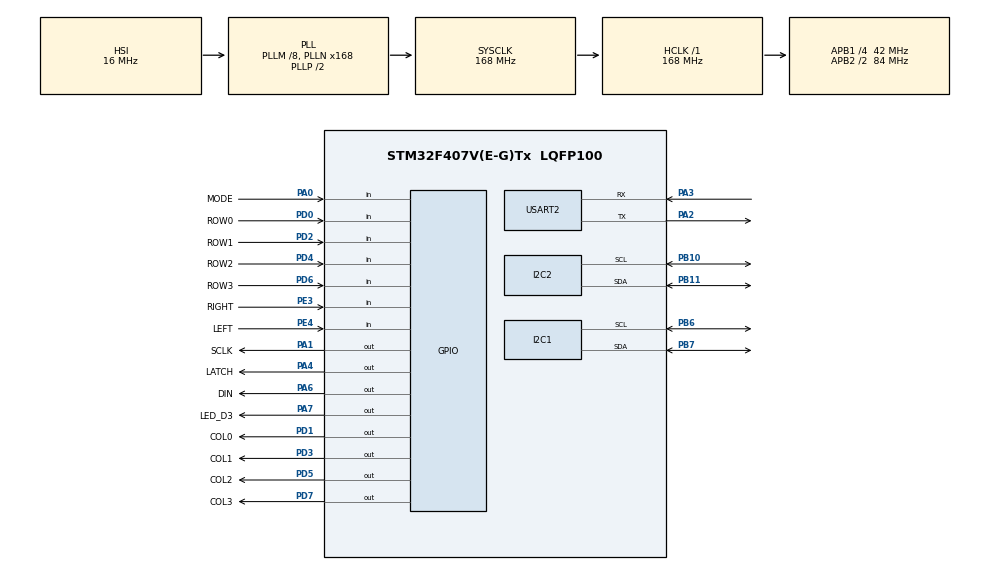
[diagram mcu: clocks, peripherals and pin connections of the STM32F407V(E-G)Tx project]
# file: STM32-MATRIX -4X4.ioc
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ADC1.Channel-0\#ChannelRegularConversion=ADC_CHANNEL_0
ADC1.Channel-1\#ChannelRegularConversion=ADC_CHANNEL_TEMPSENSOR
ADC1.Channel-2\#ChannelRegularConversion=ADC_CHANNEL_VREFINT
ADC1.Channel-3\#ChannelInjectedConversion=ADC_CHANNEL_TEMPSENSOR
ADC1.ContinuousConvMode=ENABLE
ADC1.InjNumberOfConversion=1
ADC1.InjectedOffset-3\#ChannelInjectedConversion=0
ADC1.InjectedRank-3\#ChannelInjectedConversion=1
ADC1.NbrOfConversion=3
ADC1.NbrOfConversionFlag=1
ADC1.Rank-0\#ChannelRegularConversion=1
ADC1.Rank-1\#ChannelRegularConversion=2
ADC1.Rank-2\#ChannelRegularConversion=3
ADC1.SamplingTime-0\#ChannelRegularConversion=ADC_SAMPLETIME_112CYCLES
ADC1.SamplingTime-1\#ChannelRegularConversion=ADC_SAMPLETIME_112CYCLES
ADC1.SamplingTime-2\#ChannelRegularConversion=ADC_SAMPLETIME_112CYCLES
ADC1.SamplingTime-3\#ChannelInjectedConversion=ADC_SAMPLETIME_112CYCLES
ADC1.master=1
Mcu.Family=STM32F4
Mcu.Name=STM32F407V(E-G)Tx
Mcu.Package=LQFP100
NVIC.PriorityGroup=NVIC_PRIORITYGROUP_4
PA0-WKUP.GPIO_Label=MODE
PA0-WKUP.GPIO_PuPd=GPIO_PULLDOWN
PA0-WKUP.Signal=GPIO_Input
PA1.GPIO_Label=SCLK
PA1.Signal=GPIO_Output
PA13.Mode=Serial_Wire
PA13.Signal=SYS_JTMS-SWDIO
PA14.Mode=Serial_Wire
PA14.Signal=SYS_JTCK-SWCLK
PA2.Mode=Asynchronous
PA2.Signal=USART2_TX
PA3.Mode=Asynchronous
PA3.Signal=USART2_RX
PA4.GPIO_Label=LATCH
PA4.Signal=GPIO_Output
PA6.GPIO_Label=DIN
PA6.PinState=GPIO_PIN_RESET
PA6.Signal=GPIO_Output
PA7.GPIO_Label=LED_D3
PA7.PinState=GPIO_PIN_SET
PA7.Signal=GPIO_Output
PB10.Mode=I2C
PB10.Signal=I2C2_SCL
PB11.Mode=I2C
PB11.Signal=I2C2_SDA
PB6.Mode=I2C
PB6.Signal=I2C1_SCL
PB7.Mode=I2C
PB7.Signal=I2C1_SDA
PC14-OSC32_IN.Mode=LSE-External-Oscillator
PC14-OSC32_IN.Signal=RCC_OSC32_IN
PC15-OSC32_OUT.Mode=LSE-External-Oscillator
PC15-OSC32_OUT.Signal=RCC_OSC32_OUT
PD0.GPIO_Label=ROW0
PD0.GPIO_PuPd=GPIO_PULLUP
PD0.Signal=GPIO_Input
PD1.GPIO_Label=COL0
PD1.GPIO_PuPd=GPIO_NOPULL
PD1.PinState=GPIO_PIN_SET
PD1.Signal=GPIO_Output
PD2.GPIO_Label=ROW1
PD2.GPIO_PuPd=GPIO_PULLUP
PD2.Signal=GPIO_Input
PD3.GPIO_Label=COL1
PD3.GPIO_PuPd=GPIO_NOPULL
PD3.PinState=GPIO_PIN_SET
PD3.Signal=GPIO_Output
PD4.GPIO_Label=ROW2
PD4.GPIO_PuPd=GPIO_PULLUP
PD4.Signal=GPIO_Input
PD5.GPIO_Label=COL2
PD5.PinState=GPIO_PIN_SET
PD5.Signal=GPIO_Output
PD6.GPIO_Label=ROW3
PD6.GPIO_PuPd=GPIO_PULLUP
PD6.Signal=GPIO_Input
PD7.GPIO_Label=COL3
PD7.GPIO_PuPd=GPIO_NOPULL
PD7.PinState=GPIO_PIN_SET
PD7.Signal=GPIO_Output
PE3.GPIO_Label=RIGHT
PE3.GPIO_PuPd=GPIO_PULLUP
PE3.Signal=GPIO_Input
PE4.GPIO_Label=LEFT
PE4.GPIO_PuPd=GPIO_PULLUP
PE4.Signal=GPIO_Input
PH0-OSC_IN.Mode=HSE-External-Oscillator
PH0-OSC_IN.Signal=RCC_OSC_IN
PH1-OSC_OUT.Mode=HSE-External-Oscillator
PH1-OSC_OUT.Signal=RCC_OSC_OUT
ProjectManager.HeapSize=0x200
ProjectManager.StackSize=0x400
ProjectManager.TargetToolchain=MDK-ARM V5.32
RCC.48MHZClocksFreq_Value=84000000
RCC.AHBFreq_Value=168000000
RCC.APB1CLKDivider=RCC_HCLK_DIV4
RCC.APB1Freq_Value=42000000
RCC.APB1TimFreq_Value=84000000
RCC.APB2CLKDivider=RCC_HCLK_DIV2
RCC.APB2Freq_Value=84000000
RCC.APB2TimFreq_Value=168000000
RCC.CortexFreq_Value=168000000
RCC.HCLKFreq_Value=168000000
RCC.HSE_VALUE=8000000
RCC.HSI_VALUE=16000000
RCC.PLLM=8
RCC.PLLN=168
RCC.SYSCLKFreq_VALUE=168000000
RCC.SYSCLKSource=RCC_SYSCLKSOURCE_PLLCLK
RCC.VCOOutputFreq_Value=336000000
USART2.VirtualMode=VM_ASYNC
VP_ADC1_TempSens_Input.Mode=IN-TempSens
VP_ADC1_Vref_Input.Mode=IN-Vrefint
board=custom

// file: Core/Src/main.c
/* USER CODE BEGIN Header */
/**
  ******************************************************************************
  * @file           : main.c
  * @brief          : Main program body
  ******************************************************************************
  * @attention
  *
  * Copyright (c) 2023 STMicroelectronics.
  * All rights reserved.
  *
  * This software is licensed under terms that can be found in the LICENSE file
  * in the root directory of this software component.
  * If no LICENSE file comes with this software, it is provided AS-IS.
  *
  ******************************************************************************
  */
/* USER CODE END Header */
#include "main.h"
#include "adc.h"
#include "i2c.h"
#include "usart.h"
#include "gpio.h"

/* USER CODE BEGIN Includes */
#include "i2c-lcd.h"
#include <stdio.h>
/* USER CODE END Includes */

/* USER CODE BEGIN PTD */
#define SLAVE_ADDRESS_EEPROM 0x50
void write_eeprom (int address ,int value)
{
	uint8_t data_t[2];

	data_t[0] = address;
	data_t[1] = value;
	HAL_I2C_Master_Transmit (&hi2c2, SLAVE_ADDRESS_EEPROM << 1,(uint8_t *) data_t, 2, HAL_MAX_DELAY);
	HAL_Delay(10); // tWR Write Cycle Time 5 ms
	printf("write_eeprom at 0x%X \r\n",address);
}

uint8_t read_eeprom(uint16_t register_pointer)
{
	HAL_StatusTypeDef status = HAL_OK;
	uint8_t return_value = 0;

	status = HAL_I2C_Mem_Read(&hi2c2, SLAVE_ADDRESS_EEPROM << 1, (uint16_t)register_pointer, I2C_MEMADD_SIZE_8BIT, &return_value, 1, 100);

	/* Check the communication status */
	if(status != HAL_OK)
	{

	}
	printf("Read EEPROM at [%d] : %d \r\n",register_pointer, return_value);
	return return_value;
}

void reset_eeprom()
{
	for(int i = 0 ; i < 20; i++)
	{
		write_eeprom(i,0+48);
		read_eeprom(i);
	}
}

/* USER CODE END PTD */

/* USER CODE BEGIN PD */

// quet thay dia chi la 0x50, dich trai 1 bit >> 0xA0
/* USER CODE END PD */

/* USER CODE BEGIN PV */
typedef struct
{
 uint8_t trangthai;
 uint8_t left;//khai bao nut bam
 uint8_t right;//khai bao nut bam
	enum
	{
		Mode_chung,//0
		Mode_maytinh,//1
		Mode_4led,//2
		mode_left,
		mode_right,
	};

} Global;

Global Global_NT;

typedef struct
{
	int string_num[5];
	int num_1;
	int num_2;
	int vitri_pheptinh;
	int trang_thai;
	int ketqua;
	int quakhu;

} Mode1;

Mode1 Maytinh;

typedef struct
{
	int string_num[5];
	int trang_thailed;
	int ketqua;

} Mode2;

Mode2 led;

// su dung uart debug
char buffer[20];
	int fputc(int ch, FILE * f)
	{
		HAL_UART_Transmit( & huart2, (uint8_t * ) & ch, 1, HAL_MAX_DELAY);
		return ch;
	}

	int row,cow =0;
	int so[6];
	int string_max = 0;
	char key;
	int	matrix_row ;  //debug printf LCD
	int matrix_col;
	char buffer[20];

/* USER CODE END PV */

void SystemClock_Config(void);

/* USER CODE BEGIN 0 */

/////////////////////////////////////// code led 7 DOAN
void shiftout(int data)
{
	for(int i=0;i <8;i++) // gui tin hieu 1 SO CAN HIEN THI L?N 1 LED
	{
		if(data&0x80)
		{
			HAL_GPIO_WritePin(DIN_GPIO_Port,DIN_Pin,GPIO_PIN_SET);
		}
		else
		{
			HAL_GPIO_WritePin(DIN_GPIO_Port,DIN_Pin,GPIO_PIN_RESET);
		}
		data<<=1;
		HAL_GPIO_WritePin(SCLK_GPIO_Port,SCLK_Pin,GPIO_PIN_SET);
		HAL_GPIO_WritePin(SCLK_GPIO_Port,SCLK_Pin,GPIO_PIN_RESET);

	}
}
char led_index[9]={0};
void display_4led(int so_int)
{
	unsigned char MA7DOAN[] =
	{
		0xC0,// 0
		0xF9,// 1
		0xA4,// 2
		0xB0,// 3
		0x99,// 4
		0x92,// 5
		0x82,// 6
		0xF8,// 7
		0x80,// 8
		0x90,// 9
		0x88,// A 10
		0x83,// B 11
		0xC6,// C 12
		0xA1,// D 13
		0x86,// E 14
		0x8E,// F 15
		0xff // NONE 16
	};
	led_index[8] = so_int/1000;
	led_index[4] = so_int%1000/100;
	led_index[2] = so_int%100/10;
	led_index[1] = so_int%10;
	if(led_index[8] == 0)
	{
		led_index[8] = 16; // MA7DOAN[16] -> tat led 7 doan
		if(led_index[4] == 0)
		{
			led_index[4] = 16; // MA7DOAN[16] -> tat led 7 doan
					if(led_index[2] == 0)
					{
						led_index[2] = 16; // MA7DOAN[16] -> tat led 7 doan
					}
		}
	}

	for(int i = 1; i < 9; i = i*2)
	{
		HAL_GPIO_WritePin(LATCH_GPIO_Port,LATCH_Pin,GPIO_PIN_RESET);
		shiftout(MA7DOAN[led_index[i]]);
		shiftout(i);
		HAL_GPIO_WritePin(LATCH_GPIO_Port,LATCH_Pin,GPIO_PIN_SET);
	}
}

 //////////////////////////////////////////code matrix
GPIO_TypeDef* row_port[4] = {ROW0_GPIO_Port, ROW1_GPIO_Port, ROW2_GPIO_Port, ROW3_GPIO_Port};
GPIO_TypeDef* col_port[4] = {COL0_GPIO_Port, COL1_GPIO_Port, COL2_GPIO_Port, COL3_GPIO_Port};
char scan_key()
{
	char keys [4][4] =
	{
		{'1', '2', '3', 'A'},
		{'4', '5', '6', 'B'},
		{'7', '8', '9', 'C'},
		{'*', '0', '#', 'D'},
	};
	// PHIA DUOI LA MATRIX 4X4
	char col_pin[4]={COL0_Pin,COL1_Pin,COL2_Pin,COL3_Pin};// quet cot
	char row_pin[4]={ROW0_Pin,ROW1_Pin,ROW2_Pin,ROW3_Pin};// quet hang
	// quet cot
	for (int col =0;col<4; col++)
	{

		HAL_GPIO_WritePin(GPIOD,col_pin[col],0);
		//quet hang
		for ( int row=0;row<4 ;row++)
		{
			if ( HAL_GPIO_ReadPin(GPIOD,row_pin[row]) ==0)
			{

				HAL_Delay(50);
				while ( HAL_GPIO_ReadPin(GPIOD,row_pin[row]) ==0)
				{
				}

				HAL_GPIO_WritePin(GPIOD,col_pin[col],1);
				matrix_row = row;  //debug printf LCD
				matrix_col = col;
				return keys [row][col];

			}

		}
		HAL_GPIO_WritePin(GPIOD,col_pin[col],1);
	}
 return 32;// 32 KY TU "SPACE" TRONG MA ACSII
}

int scan_mode(void)
{
	if (HAL_GPIO_ReadPin(MODE_GPIO_Port, MODE_Pin))
	{
		HAL_Delay(20);
		if (HAL_GPIO_ReadPin(MODE_GPIO_Port, MODE_Pin))
		{
			Global_NT.trangthai =Global_NT.trangthai +1;
			if(Global_NT.trangthai==3)
			{
				Global_NT.trangthai=0;
			}
			while (HAL_GPIO_ReadPin(MODE_GPIO_Port,  MODE_Pin) == 1)
			{
			}
		}
	}
	return Global_NT.trangthai;
}
int scan_left(void)
{
	if ((HAL_GPIO_ReadPin(LEFT_GPIO_Port, LEFT_Pin)==0) )
	{

		HAL_Delay(20);
		if (HAL_GPIO_ReadPin(LEFT_GPIO_Port, LEFT_Pin)==0)
		{
			Global_NT.left=1;

			while (HAL_GPIO_ReadPin(LEFT_GPIO_Port, LEFT_Pin) == 0)
			{
			}
		}
	}
	return Global_NT.left;
}

int scan_right(void)
{
	if (HAL_GPIO_ReadPin(RIGHT_GPIO_Port, RIGHT_Pin)==0)
	{

		HAL_Delay(20);
		if (HAL_GPIO_ReadPin(RIGHT_GPIO_Port, RIGHT_Pin)==0)
		{
			Global_NT.right=0;
			printf("gia tri hien tai la  %d\r\n",Maytinh.ketqua );
			while (HAL_GPIO_ReadPin(RIGHT_GPIO_Port, RIGHT_Pin) == 0)
			{

			}
		}
	}
	return Global_NT.right;
}

int fn_getNum(int array[5],int array_max)
{
	for(int i =0;i<5;i++)
	{
		printf("array[%d] %d \r\n", i, array[i]);

	}

	return 1;
}

void fn_Mode_maytinh(void)
{
while(Global_NT.trangthai == Mode_maytinh)
	{
		lcd_put_cur(0,0);
		lcd_send_string("MODE1:MAY_TINH");
		scan_mode();
		scan_left();
		scan_right();
		if(Global_NT.left==1)
		{
			lcd_put_cur(0,0);
		  lcd_send_string("Gia tri truoc do la");
			lcd_put_cur(1,0);
			sprintf (buffer,"%d ", read_eeprom(0));
			lcd_send_string (buffer);
			HAL_Delay(2000);
			lcd_init();
			Global_NT.left=2;
		}

		key = scan_key();
		lcd_put_cur (1, string_max);
		if((key == '#') && (string_max > 2))
		{
			for(int i = 0; i < string_max; i++)
			{
				//printf("Maytinh.string_num[i] %d\r\n", Maytinh.string_num[i]);
				if (( Maytinh.string_num[i] < 0) || \
					( Maytinh.string_num[i] > 9))
				{
					printf("VI TRI PHEP TINH LA %d\r\n", i);
					if (Maytinh.string_num[i] == (65-48)) // dau +
					{

						printf("PHEP TINH HIEN TAI LA + \r\n");
						Maytinh.trang_thai=0;
					}
					else if (Maytinh.string_num[i] == (66-48)) // dau -
					{
						printf("PHEP TINH HIEN TAI LA - \r\n");
							Maytinh.trang_thai=1;
					}
					else if (Maytinh.string_num[i] == (67-48)) // dau *
					{
						printf("PHEP TINH HIEN TAI LA * \r\n");
						Maytinh.trang_thai=2;
					}
					Maytinh.vitri_pheptinh = i;
				}
			}
			// lay so 1
			printf("Lay so 1:\r\n");
			Maytinh.num_1 = 0;
			for (int j = 0; j < Maytinh.vitri_pheptinh; j++) {
				Maytinh.num_1 = Maytinh.num_1 * 10 + Maytinh.string_num[j];
				write_eeprom(1,Maytinh.num_1);
			}
			// lay so 2
			printf("Lay so 2:\r\n");
			Maytinh.num_2 = 0;
			for (int j = Maytinh.vitri_pheptinh+1; j < string_max; j++) {
				Maytinh.num_2 = Maytinh.num_2 * 10 + Maytinh.string_num[j];
				write_eeprom(2,Maytinh.num_2);
			}
			printf("Maytinh.num_2 1a: %d\r\n", Maytinh.num_2);

				if(Maytinh.trang_thai==0)
			{
				Maytinh.ketqua=Maytinh.num_1+Maytinh.num_2;
				Maytinh.quakhu=read_eeprom(1)+read_eeprom(2);
				write_eeprom(0,Maytinh.quakhu);
				printf("ket qua phep cong la:%d\r\n",Maytinh.ketqua);
			}

				if(Maytinh.trang_thai==1)
			{
				Maytinh.ketqua=Maytinh.num_1-Maytinh.num_2;

				printf("ket qua phep tru la : %d\r\n",Maytinh.ketqua);
			}
				if(Maytinh.trang_thai==2)
			{
				Maytinh.ketqua=Maytinh.num_1*Maytinh.num_2;
				;
				printf("ket qua phep nhan la  : %d\r\n",Maytinh.ketqua);
			}

				lcd_put_cur (1, string_max +1);
				lcd_send_string("=");
			  lcd_put_cur (1,string_max +2);
				printf("maytinh %d\r\n",Maytinh.ketqua);
		  	sprintf (buffer,"%d ", Maytinh.ketqua);
			  lcd_send_string (buffer);
		   	string_max = 0;
			  HAL_Delay(2500);
		    lcd_clear();
		}

		else if(key != 32)
		{
			lcd_put_cur (1,string_max);
		  Maytinh.string_num[string_max]=key-48;
			printf("so thu %d la %d\r\n", string_max, Maytinh.string_num[string_max]);
			lcd_send_data(key);

			if (Maytinh.string_num[string_max] == (65-48))
			{
				lcd_put_cur (1, string_max);
				lcd_send_string("+");
			}
			if (Maytinh.string_num[string_max] == (66-48))
			{
				lcd_put_cur (1, string_max);
				lcd_send_string("-");
			}
			if (Maytinh.string_num[string_max] == (67-48))
			{
				lcd_put_cur (1, string_max);
				lcd_send_string("*");
			}
			else if(Maytinh.string_num[string_max] == (68-48))
			{

				lcd_clear();
				string_max=-1;	// vi tri -1
			}

			string_max++;
		}
	}
}

// ham matrix

void fn_Mode_4LED(void)
{
	 while(Global_NT.trangthai == Mode_4led)
	 {
		lcd_put_cur(0,0);
		lcd_send_string("MODE2:4_led");

		scan_mode();
		key = scan_key();
		if(key != 32)
		{
			lcd_put_cur (1,string_max);
		  led.string_num[string_max]=key-48;
			printf("so thu %d la %d\r\n", string_max, led.string_num[string_max]);
			lcd_send_data(key);
			string_max++;
		 }
		if(key=='#')
		{
			write_eeprom(10,led.string_num[0]);
			write_eeprom(11,led.string_num[1]);
			write_eeprom(12,led.string_num[2]);
			write_eeprom(13,led.string_num[3]);
			string_max=0;
			led.ketqua =1000*read_eeprom(10) +100*read_eeprom(11) + 10*read_eeprom(12)+read_eeprom(13);
			printf("so da luu la: %d\r\n",led.ketqua);
			lcd_init();
			lcd_put_cur(0,0);
			lcd_send_string("DA LUU EEPROM");
		}
		if(key=='*')
		{
	  	while(1)
			{
			  key = scan_key();
				scan_key();
		  	if (HAL_GPIO_ReadPin(MODE_GPIO_Port, MODE_Pin))
				{
				  Global_NT.trangthai=0;
					break;
				}
		display_4led(led.ketqua);

		  }

		}

 }
}

void display_key(void)
{
		lcd_put_cur(0,0);
		lcd_send_string("Row : ");
		lcd_send_data(matrix_row +48 );

		lcd_put_cur(1,0);
		lcd_send_string("Col : ");
		lcd_send_data(matrix_col + 48 );

}

/* USER CODE END 0 */

int main(void)
{

  /* MCU Configuration--------------------------------------------------------*/

  /* Reset of all peripherals, Initializes the Flash interface and the Systick. */
  HAL_Init();

  /* USER CODE BEGIN Init */
int ret = 0;
	for(int i=1; i<128; i++)
	{
			ret = HAL_I2C_IsDeviceReady(&hi2c1, (uint16_t)(i<<1), 3, 5);
			if (ret != HAL_OK) /* No ACK Received At That Address */
			{
					printf("khong co tai dia chi 0x%X \n",i);
			}
			else if(ret == HAL_OK)
			{
					printf("dia chi 0x%X \n",i);
					//break;
			}
			HAL_Delay(100);
	}
  /* USER CODE END Init */

  /* Configure the system clock */
  SystemClock_Config();

  /* Initialize all configured peripherals */
  MX_GPIO_Init();
  MX_I2C1_Init();
  MX_ADC1_Init();
  MX_I2C2_Init();
  MX_USART2_UART_Init();
  /* USER CODE BEGIN 2 */
	lcd_init ();

  /* USER CODE END 2 */

  /* Infinite loop */
  /* USER CODE BEGIN WHILE */
	Global_NT.trangthai =0;
  while (1)
  {

    /* USER CODE END WHILE */

    /* USER CODE BEGIN 3 */

		scan_mode();
		if (Global_NT.trangthai == Mode_chung)
		{
			lcd_put_cur(0,0);
			lcd_send_string("MODE1:MAY_TINH");
			lcd_put_cur(1,0);
			lcd_send_string("MODE2:4 LED");
			printf("Global_NT.trangthai  Mode_chung \r\n");

		}
		else if (Global_NT.trangthai == Mode_maytinh)
		{

			lcd_init();
			printf(" Mode_maytinh = %d\r\n",Mode_maytinh);
			// void fn_Mode_maytinh
		  fn_Mode_maytinh();

		}
		else if(Global_NT.trangthai == Mode_4led)
		{
			lcd_init();
		 	printf("Global_NT.trangthai  Mode_4led \r\n");
			// void fn_Mode_4led
			fn_Mode_4LED();

		}

  }
  /* USER CODE END 3 */
}

void SystemClock_Config(void)
{
  RCC_OscInitTypeDef RCC_OscInitStruct = {0};
  RCC_ClkInitTypeDef RCC_ClkInitStruct = {0};

  /** Configure the main internal regulator output voltage
  */
  __HAL_RCC_PWR_CLK_ENABLE();
  __HAL_PWR_VOLTAGESCALING_CONFIG(PWR_REGULATOR_VOLTAGE_SCALE1);

  /** Initializes the RCC Oscillators according to the specified parameters
  * in the RCC_OscInitTypeDef structure.
  */
  RCC_OscInitStruct.OscillatorType = RCC_OSCILLATORTYPE_HSI;
  RCC_OscInitStruct.HSIState = RCC_HSI_ON;
  RCC_OscInitStruct.HSICalibrationValue = RCC_HSICALIBRATION_DEFAULT;
  RCC_OscInitStruct.PLL.PLLState = RCC_PLL_ON;
  RCC_OscInitStruct.PLL.PLLSource = RCC_PLLSOURCE_HSI;
  RCC_OscInitStruct.PLL.PLLM = 8;
  RCC_OscInitStruct.PLL.PLLN = 168;
  RCC_OscInitStruct.PLL.PLLP = RCC_PLLP_DIV2;
  RCC_OscInitStruct.PLL.PLLQ = 4;
  if (HAL_RCC_OscConfig(&RCC_OscInitStruct) != HAL_OK)
  {
    Error_Handler();
  }

  /** Initializes the CPU, AHB and APB buses clocks
  */
  RCC_ClkInitStruct.ClockType = RCC_CLOCKTYPE_HCLK|RCC_CLOCKTYPE_SYSCLK
                              |RCC_CLOCKTYPE_PCLK1|RCC_CLOCKTYPE_PCLK2;
  RCC_ClkInitStruct.SYSCLKSource = RCC_SYSCLKSOURCE_PLLCLK;
  RCC_ClkInitStruct.AHBCLKDivider = RCC_SYSCLK_DIV1;
  RCC_ClkInitStruct.APB1CLKDivider = RCC_HCLK_DIV4;
  RCC_ClkInitStruct.APB2CLKDivider = RCC_HCLK_DIV2;

  if (HAL_RCC_ClockConfig(&RCC_ClkInitStruct, FLASH_LATENCY_5) != HAL_OK)
  {
    Error_Handler();
  }
}

void Error_Handler(void)
{
  __disable_irq();
  while (1)
  {
  }
}
